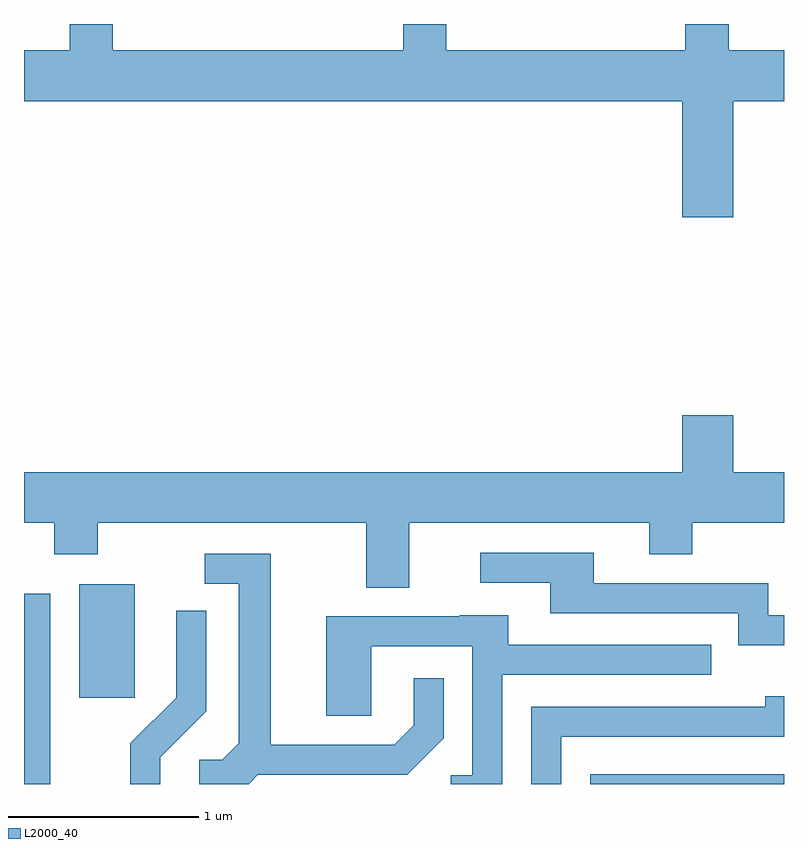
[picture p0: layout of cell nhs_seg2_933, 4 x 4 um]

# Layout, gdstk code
import gdstk
lib = gdstk.Library(unit=1e-6, precision=1e-09)
def R(c, l, rs):  # rectangles x0, y0, x1, y1
    for r in rs: c.add(gdstk.rectangle(r[:2], r[2:], *l))
def P(c, l, *ps):  # polygons
    for p in ps: c.add(gdstk.Polygon(p, *l))
L2000_40 = (2000, 40)

nhs_seg2_933 = lib.new_cell('nhs_seg2_933')
R(nhs_seg2_933, L2000_40, [(211.611,1075.802,211.749,1076.804), (214.591,1075.802,215.611,1075.854), (211.901,1076.256,212.194,1076.854)])
P(nhs_seg2_933, L2000_40, [(215.344,1079.396),(215.611,1079.396),(215.611,1079.664),(215.319,1079.664),(215.319,1079.802),(215.091,1079.802),(215.091,1079.664),(213.834,1079.664),(213.834,1079.802),(213.606,1079.802),(213.606,1079.664),(212.079,1079.664),(212.079,1079.802),(211.851,1079.802),(211.851,1079.664),(211.611,1079.664),(211.611,1079.396),(215.076,1079.396),(215.076,1078.786),(215.344,1078.786)],
  [(213.639,1077.176),(214.901,1077.176),(214.901,1077.011),(215.129,1077.011),(215.129,1077.176),(215.611,1077.176),(215.611,1077.444),(215.344,1077.444),(215.344,1077.744),(215.076,1077.744),(215.076,1077.444),(211.611,1077.444),(211.611,1077.176),(211.771,1077.176),(211.771,1077.011),(211.999,1077.011),(211.999,1077.176),(213.411,1077.176),(213.411,1076.836),(213.639,1076.836)],
  [(215.611,1076.689),(215.529,1076.689),(215.529,1076.859),(214.609,1076.859),(214.609,1077.019),(214.013,1077.019),(214.013,1076.861),(214.381,1076.861),(214.381,1076.701),(215.371,1076.701),(215.371,1076.531),(215.611,1076.531)],
  [(212.842,1075.851),(213.627,1075.851),(213.819,1076.044),(213.819,1076.358),(213.661,1076.358),(213.661,1076.112),(213.559,1076.009),(212.909,1076.009),(212.909,1077.014),(212.563,1077.014),(212.563,1076.856),(212.741,1076.856),(212.741,1076.017),(212.654,1075.929),(212.533,1075.929),(212.533,1075.802),(212.793,1075.802)],
  [(212.329,1075.944),(212.569,1076.184),(212.569,1076.713),(212.411,1076.713),(212.411,1076.257),(212.171,1076.017),(212.171,1075.802),(212.329,1075.802)],
  [(214.129,1076.376),(215.228,1076.376),(215.228,1076.534),(214.159,1076.534),(214.159,1076.689),(213.905,1076.689),(213.905,1076.684),(213.201,1076.684),(213.201,1076.161),(213.439,1076.161),(213.439,1076.526),(213.971,1076.526),(213.971,1075.849),(213.858,1075.849),(213.858,1075.802),(214.129,1075.802)],
  [(214.439,1076.051),(215.611,1076.051),(215.611,1076.264),(215.511,1076.264),(215.511,1076.209),(214.281,1076.209),(214.281,1075.802),(214.439,1075.802)])

lib.write_gds('nhs_seg2_933.gds')
